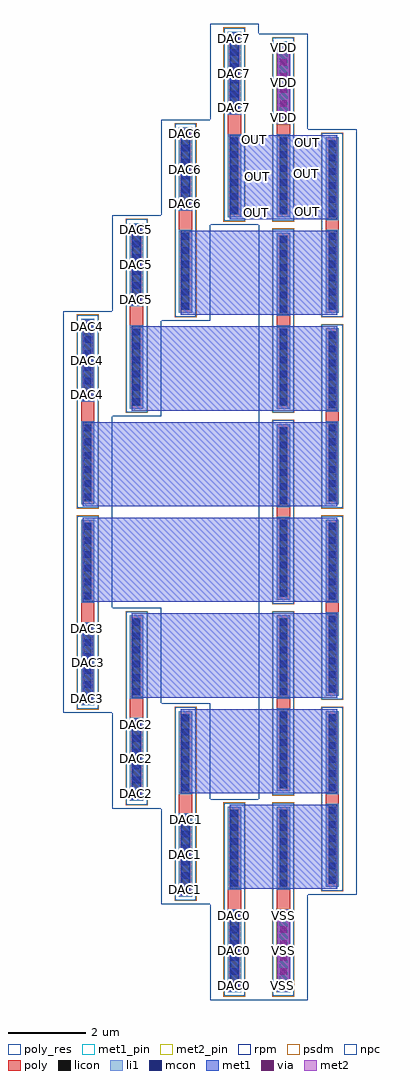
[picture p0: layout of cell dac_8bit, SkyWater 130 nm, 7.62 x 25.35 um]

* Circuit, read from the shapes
.subckt dac_8bit DAC0 DAC1 DAC2 DAC3 DAC4 DAC5 DAC6 DAC7 OUT VDD VSS
XR1 n1 DAC3 VSUBS sky130_fd_pr__res_high_po w=0.35 l=0.5
XR2 DAC4 n2 VSUBS sky130_fd_pr__res_high_po w=0.35 l=0.5
XR3 n3 DAC2 VSUBS sky130_fd_pr__res_high_po w=0.35 l=0.5
XR4 DAC5 n4 VSUBS sky130_fd_pr__res_high_po w=0.35 l=0.5
XR5 n5 DAC1 VSUBS sky130_fd_pr__res_high_po w=0.35 l=0.5
XR6 DAC6 n6 VSUBS sky130_fd_pr__res_high_po w=0.35 l=0.5
XR7 n7 DAC0 VSUBS sky130_fd_pr__res_high_po w=0.35 l=0.5
XR8 DAC7 OUT VSUBS sky130_fd_pr__res_high_po w=0.35 l=0.5
XR9 n7 VSS VSUBS sky130_fd_pr__res_high_po w=0.35 l=0.5
XR10 n3 n5 VSUBS sky130_fd_pr__res_high_po w=0.35 l=0.25
XR11 n2 n1 VSUBS sky130_fd_pr__res_high_po w=0.35 l=0.25
XR12 n6 n4 VSUBS sky130_fd_pr__res_high_po w=0.35 l=0.25
XR13 VDD OUT VSUBS sky130_fd_pr__res_high_po w=0.35 l=0.25
XR14 n5 n7 VSUBS sky130_fd_pr__res_high_po w=0.35 l=0.25
XR15 n1 n3 VSUBS sky130_fd_pr__res_high_po w=0.35 l=0.25
XR16 n4 n2 VSUBS sky130_fd_pr__res_high_po w=0.35 l=0.25
XR17 OUT n6 VSUBS sky130_fd_pr__res_high_po w=0.35 l=0.25
.ends

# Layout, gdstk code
import gdstk
lib = gdstk.Library(unit=1e-6, precision=1e-09)
def R(c, l, rs):  # rectangles x0, y0, x1, y1
    for r in rs: c.add(gdstk.rectangle(r[:2], r[2:], *l))
def A(c, l, x, y, w, h, nx, ny, dx, dy):  # array of equal rectangles
    R(c, l, [(x+i*dx, y+j*dy, x+i*dx+w, y+j*dy+h) for i in range(nx) for j in range(ny)])
poly_res = (66, 13)
poly = (66, 20)
licon = (66, 44)
li1 = (67, 20)
mcon = (67, 44)
met1_pin = (68, 16)
met1 = (68, 20)
via = (68, 44)
met2_pin = (69, 16)
met2 = (69, 20)
rpm = (86, 20)
psdm = (94, 20)
npc = (95, 20)

res_poly_5 = lib.new_cell('res_poly$5')
R(res_poly_5, poly_res, [(0.46,2.3,0.81,2.92)])
R(res_poly_5, poly, [(0.46,0.2,0.81,5.02)])
R(res_poly_5, licon, [(0.54,0.28,0.73,2.28), (0.54,2.94,0.73,4.94)])
R(res_poly_5, li1, [(0.46,0.2,0.81,2.36), (0.46,2.86,0.81,5.02)])
A(res_poly_5, mcon, 0.55, 0.3, 0.17, 0.17, 1, 6, 0, 0.36)
A(res_poly_5, mcon, 0.55, 2.955, 0.17, 0.17, 1, 6, 0, 0.36)
R(res_poly_5, met1, [(0.51,0.23,0.76,2.335), (0.51,2.885,0.76,4.99)])
R(res_poly_5, rpm, [(0,0,1.27,5.22)])
R(res_poly_5, psdm, [(0.35,0.09,0.92,5.13)])
R(res_poly_5, npc, [(0.365,0.105,0.905,5.115)])

res_poly = lib.new_cell('res_poly')
R(res_poly, poly_res, [(0.46,2.3,0.81,2.67)])
R(res_poly, poly, [(0.46,0.2,0.81,4.77)])
R(res_poly, licon, [(0.54,0.28,0.73,2.28), (0.54,2.69,0.73,4.69)])
R(res_poly, li1, [(0.46,0.2,0.81,2.36), (0.46,2.61,0.81,4.77)])
A(res_poly, mcon, 0.55, 0.3, 0.17, 0.17, 1, 6, 0, 0.36)
A(res_poly, mcon, 0.55, 2.705, 0.17, 0.17, 1, 6, 0, 0.36)
R(res_poly, met1, [(0.51,0.23,0.76,2.335), (0.51,2.635,0.76,4.74)])
R(res_poly, rpm, [(0,0,1.27,4.97)])
R(res_poly, psdm, [(0.35,0.09,0.92,4.88)])
R(res_poly, npc, [(0.365,0.105,0.905,4.865)])

dac_8bit = lib.new_cell('dac_8bit')
R(dac_8bit, met1_pin, [(4.32,0.23,4.57,2.334), (3.05,2.715,3.3,4.819), (1.78,5.2,2.03,7.304), (0.51,7.685,0.76,9.789), (0.51,15.561,0.76,17.665), (1.78,18.046,2.03,20.15), (4.32,20.281,7.11,22.464), (3.05,20.531,3.3,22.635), (4.32,23.016,4.57,25.12)])
R(dac_8bit, met1, [(5.555,0.225,5.875,2.345), (4.32,2.885,7.11,5.07), (3.05,5.37,7.11,7.555), (1.78,7.855,7.11,10.04), (0.51,10.34,7.11,12.525), (0.51,12.825,7.11,15.01), (1.78,15.31,7.11,17.495), (0.51,15.56,0.76,17.665), (3.05,17.795,7.11,19.98), (4.32,20.28,7.11,22.465), (5.555,22.76,5.875,24.88)])
A(dac_8bit, via, 5.64, 0.31, 0.15, 0.15, 1, 6, 0, 0.36)
A(dac_8bit, via, 5.64, 22.845, 0.15, 0.15, 1, 6, 0, 0.36)
R(dac_8bit, met2_pin, [(5.53,0.2,5.9,2.37), (5.53,22.735,5.9,24.905)])
R(dac_8bit, met2, [(5.555,0.225,5.875,2.345), (5.555,22.76,5.875,24.88)])
dac_8bit.add(gdstk.Reference(res_poly_5, (0,12.675)))
dac_8bit.add(gdstk.Reference(res_poly_5, (1.27,4.97)))
dac_8bit.add(gdstk.Reference(res_poly, (5.08,10.19)))
dac_8bit.add(gdstk.Reference(res_poly_5, (1.27,15.16)))
dac_8bit.add(gdstk.Reference(res_poly_5, (0,7.455)))
dac_8bit.add(gdstk.Reference(res_poly_5, (5.08,0)))
dac_8bit.add(gdstk.Reference(res_poly, (5.08,5.22)))
dac_8bit.add(gdstk.Reference(res_poly, (6.35,2.735)))
dac_8bit.add(gdstk.Reference(res_poly, (6.35,12.675)))
dac_8bit.add(gdstk.Reference(res_poly_5, (3.81,20.13)))
dac_8bit.add(gdstk.Reference(res_poly, (6.35,17.645)))
dac_8bit.add(gdstk.Reference(res_poly_5, (2.54,17.645)))
dac_8bit.add(gdstk.Reference(res_poly, (5.08,15.16)))
dac_8bit.add(gdstk.Reference(res_poly, (5.08,20.13)))
dac_8bit.add(gdstk.Reference(res_poly_5, (3.81,0)))
dac_8bit.add(gdstk.Reference(res_poly_5, (2.54,2.485)))
dac_8bit.add(gdstk.Reference(res_poly, (6.35,7.705)))
dac_8bit.add(gdstk.Label('OUT', (5.017,20.453), layer=68, texttype=5))
dac_8bit.add(gdstk.Label('OUT', (5.036,21.393), layer=68, texttype=5))
dac_8bit.add(gdstk.Label('OUT', (4.967,22.338), layer=68, texttype=5))
dac_8bit.add(gdstk.Label('DAC5', (1.893,18.203), layer=68, texttype=5))
dac_8bit.add(gdstk.Label('DAC5', (1.906,19.113), layer=68, texttype=5))
dac_8bit.add(gdstk.Label('DAC5', (1.893,20.011), layer=68, texttype=5))
dac_8bit.add(gdstk.Label('DAC6', (3.173,20.68), layer=68, texttype=5))
dac_8bit.add(gdstk.Label('DAC7', (4.438,24.976), layer=68, texttype=5))
dac_8bit.add(gdstk.Label('DAC6', (3.165,22.496), layer=68, texttype=5))
dac_8bit.add(gdstk.Label('DAC6', (3.177,21.574), layer=68, texttype=5))
dac_8bit.add(gdstk.Label('DAC7', (4.438,23.169), layer=68, texttype=5))
dac_8bit.add(gdstk.Label('DAC7', (4.435,24.074), layer=68, texttype=5))
dac_8bit.add(gdstk.Label('OUT', (6.334,22.283), layer=68, texttype=5))
dac_8bit.add(gdstk.Label('OUT', (6.329,21.457), layer=68, texttype=5))
dac_8bit.add(gdstk.Label('OUT', (6.334,20.49), layer=68, texttype=5))
dac_8bit.add(gdstk.Label('DAC4', (0.634,17.505), layer=68, texttype=5))
dac_8bit.add(gdstk.Label('DAC4', (0.626,16.612), layer=68, texttype=5))
dac_8bit.add(gdstk.Label('DAC4', (0.626,15.714), layer=68, texttype=5))
dac_8bit.add(gdstk.Label('DAC3', (0.638,9.659), layer=68, texttype=5))
dac_8bit.add(gdstk.Label('DAC3', (0.643,8.769), layer=68, texttype=5))
dac_8bit.add(gdstk.Label('DAC3', (0.63,7.843), layer=68, texttype=5))
dac_8bit.add(gdstk.Label('DAC2', (1.911,6.28), layer=68, texttype=5))
dac_8bit.add(gdstk.Label('DAC2', (1.897,7.146), layer=68, texttype=5))
dac_8bit.add(gdstk.Label('DAC2', (1.911,5.364), layer=68, texttype=5))
dac_8bit.add(gdstk.Label('DAC1', (3.174,3.782), layer=68, texttype=5))
dac_8bit.add(gdstk.Label('DAC1', (3.191,4.687), layer=68, texttype=5))
dac_8bit.add(gdstk.Label('DAC1', (3.18,2.872), layer=68, texttype=5))
dac_8bit.add(gdstk.Label('DAC0', (4.457,1.294), layer=68, texttype=5))
dac_8bit.add(gdstk.Label('DAC0', (4.442,2.186), layer=68, texttype=5))
dac_8bit.add(gdstk.Label('DAC0', (4.442,0.388), layer=68, texttype=5))
dac_8bit.add(gdstk.Label('VDD', (5.71,24.74), layer=69, texttype=5))
dac_8bit.add(gdstk.Label('VDD', (5.71,23.836), layer=69, texttype=5))
dac_8bit.add(gdstk.Label('VDD', (5.71,22.917), layer=69, texttype=5))
dac_8bit.add(gdstk.Label('VSS', (5.719,1.284), layer=69, texttype=5))
dac_8bit.add(gdstk.Label('VSS', (5.701,0.379), layer=69, texttype=5))
dac_8bit.add(gdstk.Label('VSS', (5.709,2.182), layer=69, texttype=5))

lib.write_gds('dac_8bit.gds')
